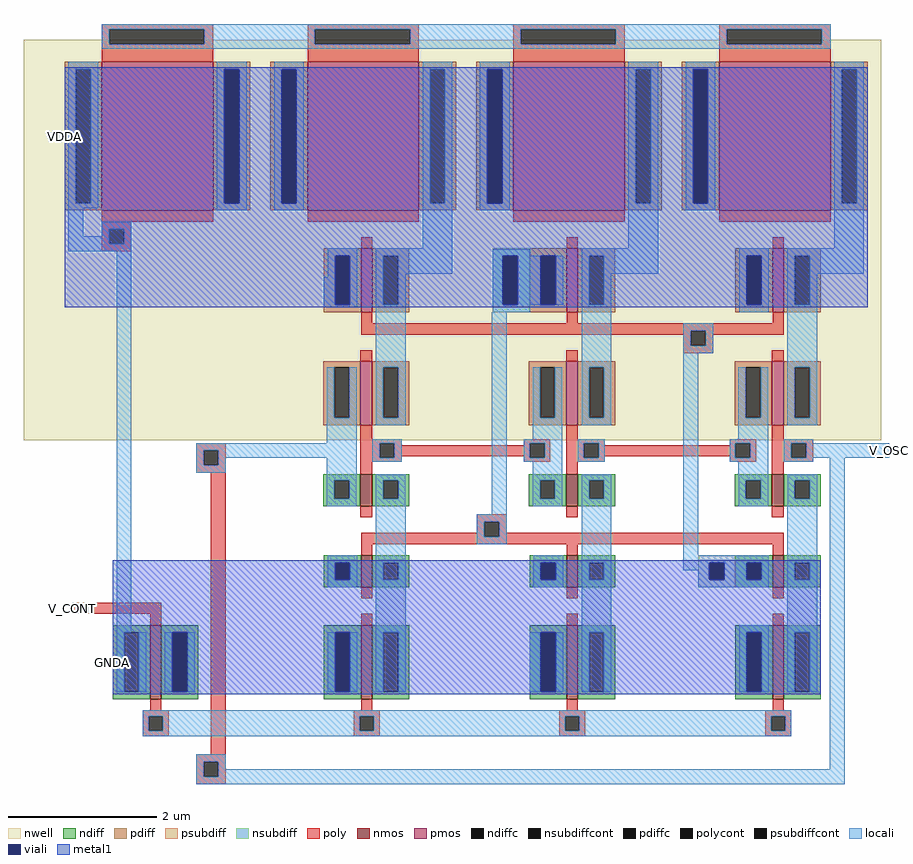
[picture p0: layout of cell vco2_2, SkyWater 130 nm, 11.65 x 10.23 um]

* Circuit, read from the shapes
.subckt vco2_2 VDDA V_OSC V_CONT GNDA
XM1 GNDA V_CONT n1 GNDA sky130_fd_pr__nfet_01v8 w=1 l=0.15
XM2 n2 n3 V_OSC GNDA sky130_fd_pr__nfet_01v8 w=0.43 l=0.16
XM3 n2 V_CONT GNDA GNDA sky130_fd_pr__nfet_01v8 w=1 l=0.15
XM4 n2 VDDA GNDA GNDA sky130_fd_pr__nfet_01v8 w=0.43 l=0.15
XM5 n4 n5 n3 GNDA sky130_fd_pr__nfet_01v8 w=0.43 l=0.16
XM6 n4 V_CONT GNDA GNDA sky130_fd_pr__nfet_01v8 w=1 l=0.15
XM7 n4 VDDA GNDA GNDA sky130_fd_pr__nfet_01v8 w=0.43 l=0.15
XM8 n6 V_OSC n5 GNDA sky130_fd_pr__nfet_01v8 w=0.43 l=0.16
XM9 n6 V_CONT GNDA GNDA sky130_fd_pr__nfet_01v8 w=1 l=0.15
XM10 n6 VDDA GNDA GNDA sky130_fd_pr__nfet_01v8 w=0.43 l=0.15
XM11 VDDA n1 n1 VDDA sky130_fd_pr__pfet_01v8 w=2 l=1.5
XM12 n7 n1 VDDA VDDA sky130_fd_pr__pfet_01v8 w=2 l=1.5
XM13 n7 n3 V_OSC VDDA sky130_fd_pr__pfet_01v8 w=0.86 l=0.16
XM14 n7 GNDA VDDA VDDA sky130_fd_pr__pfet_01v8 w=0.86 l=0.15
XM15 n8 n1 VDDA VDDA sky130_fd_pr__pfet_01v8 w=2 l=1.5
XM16 n8 n5 n3 VDDA sky130_fd_pr__pfet_01v8 w=0.86 l=0.16
XM17 n8 GNDA VDDA VDDA sky130_fd_pr__pfet_01v8 w=0.86 l=0.15
XM18 n9 n1 VDDA VDDA sky130_fd_pr__pfet_01v8 w=2 l=1.5
XM19 n9 V_OSC n5 VDDA sky130_fd_pr__pfet_01v8 w=0.86 l=0.16
XM20 n9 GNDA VDDA VDDA sky130_fd_pr__pfet_01v8 w=0.86 l=0.15
.ends

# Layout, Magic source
magic
tech sky130A
<< nwell >>
rect -428 73 726 612
<< nmos >>
rect -258 -276 -243 -176
rect 25 -16 41 27
rect 302 -16 318 27
rect 579 -16 595 27
rect 26 -125 41 -82
rect 303 -125 318 -82
rect 580 -125 595 -82
rect 26 -276 41 -176
rect 303 -276 318 -176
rect 580 -276 595 -176
<< pmos >>
rect -323 382 -173 582
rect -46 382 104 582
rect 231 382 381 582
rect 508 382 658 582
rect 26 245 41 331
rect 303 245 318 331
rect 580 245 595 331
rect 25 93 41 179
rect 302 93 318 179
rect 579 93 595 179
<< ndiff >>
rect -308 -186 -258 -176
rect -308 -266 -293 -186
rect -273 -266 -258 -186
rect -308 -276 -258 -266
rect -243 -186 -193 -176
rect -243 -266 -228 -186
rect -208 -266 -193 -186
rect -243 -276 -193 -266
rect -25 19 25 27
rect -25 -6 -10 19
rect 10 -6 25 19
rect -25 -16 25 -6
rect 41 19 91 27
rect 41 -6 56 19
rect 76 -6 91 19
rect 41 -16 91 -6
rect 252 19 302 27
rect 252 -6 267 19
rect 287 -6 302 19
rect 252 -16 302 -6
rect 318 19 368 27
rect 318 -6 333 19
rect 353 -6 368 19
rect 318 -16 368 -6
rect 529 19 579 27
rect 529 -6 544 19
rect 564 -6 579 19
rect 529 -16 579 -6
rect 595 19 645 27
rect 595 -6 610 19
rect 630 -6 645 19
rect 595 -16 645 -6
rect -24 -92 26 -82
rect -24 -115 -9 -92
rect 11 -115 26 -92
rect -24 -125 26 -115
rect 41 -92 91 -82
rect 41 -115 56 -92
rect 76 -115 91 -92
rect 41 -125 91 -115
rect 253 -92 303 -82
rect 253 -115 268 -92
rect 288 -115 303 -92
rect 253 -125 303 -115
rect 318 -92 368 -82
rect 318 -115 333 -92
rect 353 -115 368 -92
rect 318 -125 368 -115
rect 530 -92 580 -82
rect 530 -115 545 -92
rect 565 -115 580 -92
rect 530 -125 580 -115
rect 595 -92 645 -82
rect 595 -115 610 -92
rect 630 -115 645 -92
rect 595 -125 645 -115
rect -24 -186 26 -176
rect -24 -266 -9 -186
rect 11 -266 26 -186
rect -24 -276 26 -266
rect 41 -186 91 -176
rect 41 -266 56 -186
rect 76 -266 91 -186
rect 41 -276 91 -266
rect 253 -186 303 -176
rect 253 -266 268 -186
rect 288 -266 303 -186
rect 253 -276 303 -266
rect 318 -186 368 -176
rect 318 -266 333 -186
rect 353 -266 368 -186
rect 318 -276 368 -266
rect 530 -186 580 -176
rect 530 -266 545 -186
rect 565 -266 580 -186
rect 530 -276 580 -266
rect 595 -186 645 -176
rect 595 -266 610 -186
rect 630 -266 645 -186
rect 595 -276 645 -266
<< pdiff >>
rect -373 572 -323 582
rect -373 392 -358 572
rect -338 392 -323 572
rect -373 382 -323 392
rect -173 572 -123 582
rect -173 392 -158 572
rect -138 392 -123 572
rect -173 382 -123 392
rect -96 572 -46 582
rect -96 392 -81 572
rect -61 392 -46 572
rect -96 382 -46 392
rect 104 572 154 582
rect 104 392 119 572
rect 139 392 154 572
rect 104 382 154 392
rect 181 572 231 582
rect 181 392 196 572
rect 216 392 231 572
rect 181 382 231 392
rect 381 572 431 582
rect 381 392 396 572
rect 416 392 431 572
rect 381 382 431 392
rect 458 572 508 582
rect 458 392 473 572
rect 493 392 508 572
rect 458 382 508 392
rect 658 572 708 582
rect 658 392 673 572
rect 693 392 708 572
rect 658 382 708 392
rect -24 321 26 331
rect -24 255 -9 321
rect 11 255 26 321
rect -24 245 26 255
rect 41 321 91 331
rect 41 255 56 321
rect 76 255 91 321
rect 41 245 91 255
rect 253 321 303 331
rect 253 255 268 321
rect 288 255 303 321
rect 253 245 303 255
rect 318 321 368 331
rect 318 255 333 321
rect 353 255 368 321
rect 318 245 368 255
rect 530 321 580 331
rect 530 255 545 321
rect 565 255 580 321
rect 530 245 580 255
rect 595 321 645 331
rect 595 255 610 321
rect 630 255 645 321
rect 595 245 645 255
rect -25 171 25 179
rect -25 103 -10 171
rect 10 103 25 171
rect -25 93 25 103
rect 41 171 91 179
rect 41 103 56 171
rect 76 103 91 171
rect 41 93 91 103
rect 252 171 302 179
rect 252 103 267 171
rect 287 103 302 171
rect 252 93 302 103
rect 318 171 368 179
rect 318 103 333 171
rect 353 103 368 171
rect 318 93 368 103
rect 529 171 579 179
rect 529 103 544 171
rect 564 103 579 171
rect 529 93 579 103
rect 595 171 645 179
rect 595 103 610 171
rect 630 103 645 171
rect 595 93 645 103
<< ndiffc >>
rect -293 -266 -273 -186
rect -228 -266 -208 -186
rect -10 -6 10 19
rect 56 -6 76 19
rect 267 -6 287 19
rect 333 -6 353 19
rect 544 -6 564 19
rect 610 -6 630 19
rect -9 -115 11 -92
rect 56 -115 76 -92
rect 268 -115 288 -92
rect 333 -115 353 -92
rect 545 -115 565 -92
rect 610 -115 630 -92
rect -9 -266 11 -186
rect 56 -266 76 -186
rect 268 -266 288 -186
rect 333 -266 353 -186
rect 545 -266 565 -186
rect 610 -266 630 -186
<< pdiffc >>
rect -358 392 -338 572
rect -158 392 -138 572
rect -81 392 -61 572
rect 119 392 139 572
rect 196 392 216 572
rect 396 392 416 572
rect 473 392 493 572
rect 673 392 693 572
rect -9 255 11 321
rect 56 255 76 321
rect 268 255 288 321
rect 333 255 353 321
rect 545 255 565 321
rect 610 255 630 321
rect -10 103 10 171
rect 56 103 76 171
rect 267 103 287 171
rect 333 103 353 171
rect 544 103 564 171
rect 610 103 630 171
<< psubdiff >>
rect 480 -92 530 -82
rect 480 -115 495 -92
rect 515 -115 530 -92
rect 480 -125 530 -115
<< nsubdiff >>
rect 203 321 253 331
rect 203 255 217 321
rect 237 255 253 321
rect 203 245 253 255
<< psubdiffcont >>
rect 495 -115 515 -92
<< nsubdiffcont >>
rect 217 255 237 321
<< poly >>
rect -323 626 -173 633
rect -323 606 -313 626
rect -185 606 -173 626
rect -323 582 -173 606
rect -46 626 104 633
rect -46 606 -36 626
rect 92 606 104 626
rect -46 582 104 606
rect 231 626 381 633
rect 231 606 241 626
rect 369 606 381 626
rect 231 582 381 606
rect 508 626 658 633
rect 508 606 518 626
rect 646 606 658 626
rect 508 582 658 606
rect -323 367 -173 382
rect -46 367 104 382
rect 231 367 381 382
rect 508 367 658 382
rect -323 357 -283 367
rect -323 337 -313 357
rect -293 337 -283 357
rect -323 327 -283 337
rect 26 331 41 346
rect 303 331 318 346
rect 580 331 595 346
rect 26 230 41 245
rect 303 230 318 245
rect 580 230 595 245
rect 26 220 595 230
rect 26 215 470 220
rect 460 200 470 215
rect 490 215 595 220
rect 490 200 500 215
rect 25 179 41 194
rect 302 179 318 194
rect 460 190 500 200
rect 579 179 595 194
rect 25 74 41 93
rect 302 74 318 93
rect 579 74 595 93
rect 25 69 81 74
rect -196 59 -156 69
rect -196 39 -186 59
rect -166 39 -156 59
rect -196 29 -156 39
rect -363 -161 -243 -146
rect -258 -176 -243 -161
rect -258 -291 -243 -276
rect -268 -299 -233 -291
rect -268 -318 -260 -299
rect -241 -318 -233 -299
rect -268 -326 -233 -318
rect -176 -350 -156 29
rect 25 49 51 69
rect 71 66 81 69
rect 245 69 281 74
rect 245 66 253 69
rect 71 51 253 66
rect 71 49 81 51
rect 25 44 81 49
rect 245 49 253 51
rect 273 49 281 69
rect 245 44 281 49
rect 302 69 354 74
rect 302 49 326 69
rect 346 66 354 69
rect 522 69 558 74
rect 522 66 530 69
rect 346 51 530 66
rect 346 49 354 51
rect 302 44 354 49
rect 522 49 530 51
rect 550 49 558 69
rect 522 44 558 49
rect 579 69 635 74
rect 579 49 605 69
rect 625 49 635 69
rect 579 44 635 49
rect 25 27 41 44
rect 302 27 318 44
rect 579 27 595 44
rect 25 -31 41 -16
rect 182 -37 222 -27
rect 302 -31 318 -16
rect 579 -31 595 -16
rect 182 -52 192 -37
rect 26 -57 192 -52
rect 212 -52 222 -37
rect 212 -57 595 -52
rect 26 -67 595 -57
rect 26 -82 41 -67
rect 303 -82 318 -67
rect 580 -82 595 -67
rect 26 -140 41 -125
rect 303 -140 318 -125
rect 580 -140 595 -125
rect 26 -176 41 -161
rect 303 -176 318 -161
rect 580 -176 595 -161
rect 26 -291 41 -276
rect 303 -291 318 -276
rect 580 -291 595 -276
rect 16 -299 51 -291
rect 16 -318 24 -299
rect 43 -318 51 -299
rect 16 -326 51 -318
rect 293 -299 328 -291
rect 293 -318 301 -299
rect 320 -318 328 -299
rect 293 -326 328 -318
rect 570 -299 605 -291
rect 570 -318 578 -299
rect 597 -318 605 -299
rect 570 -326 605 -318
rect -196 -360 -156 -350
rect -196 -380 -186 -360
rect -166 -380 -156 -360
rect -196 -390 -156 -380
<< polycont >>
rect -313 606 -185 626
rect -36 606 92 626
rect 241 606 369 626
rect 518 606 646 626
rect -313 337 -293 357
rect 470 200 490 220
rect -186 39 -166 59
rect -260 -318 -241 -299
rect 51 49 71 69
rect 253 49 273 69
rect 326 49 346 69
rect 530 49 550 69
rect 605 49 625 69
rect 192 -57 212 -37
rect 24 -318 43 -299
rect 301 -318 320 -299
rect 578 -318 597 -299
rect -186 -380 -166 -360
<< locali >>
rect -323 626 658 633
rect -323 606 -313 626
rect -185 606 -36 626
rect 92 606 241 626
rect 369 606 518 626
rect 646 606 658 626
rect -323 600 658 606
rect -368 572 -328 582
rect -368 392 -358 572
rect -338 392 -328 572
rect -368 385 -328 392
rect -168 572 -128 582
rect -168 392 -158 572
rect -138 392 -128 572
rect -368 347 -348 385
rect -168 382 -128 392
rect -91 572 -51 582
rect -91 392 -81 572
rect -61 392 -51 572
rect -91 382 -51 392
rect 109 572 149 582
rect 109 392 119 572
rect 139 392 149 572
rect -323 357 -283 367
rect -323 347 -313 357
rect -368 337 -313 347
rect -293 337 -283 357
rect -368 327 -283 337
rect 109 331 149 392
rect 186 572 226 582
rect 186 392 196 572
rect 216 392 226 572
rect 186 382 226 392
rect 386 572 426 582
rect 386 392 396 572
rect 416 392 426 572
rect 386 331 426 392
rect 463 572 503 582
rect 463 392 473 572
rect 493 392 503 572
rect 463 382 503 392
rect 663 572 703 582
rect 663 392 673 572
rect 693 392 703 572
rect 663 331 703 392
rect -303 -186 -283 327
rect -19 321 21 331
rect -19 292 -9 321
rect -24 255 -9 292
rect 11 255 21 321
rect -24 252 21 255
rect 46 321 149 331
rect 46 255 56 321
rect 76 297 149 321
rect 203 321 254 330
rect 323 321 426 331
rect 76 255 86 297
rect 46 171 86 255
rect 203 255 217 321
rect 237 255 268 321
rect 288 255 298 321
rect 323 255 333 321
rect 353 297 426 321
rect 535 321 575 331
rect 353 255 363 297
rect 203 245 254 255
rect -20 103 -10 171
rect 10 103 20 171
rect -20 69 20 103
rect 46 103 56 171
rect 76 103 86 171
rect 46 93 86 103
rect -196 59 20 69
rect -196 39 -186 59
rect -166 49 20 59
rect -166 39 -156 49
rect -196 29 -156 39
rect -20 19 20 49
rect 41 69 81 74
rect 41 49 51 69
rect 71 49 81 69
rect 41 44 81 49
rect -20 -6 -10 19
rect 10 -6 20 19
rect -20 -16 20 -6
rect 46 19 86 27
rect 46 -6 56 19
rect 76 -6 86 19
rect -19 -92 21 -82
rect -19 -115 -9 -92
rect 11 -115 21 -92
rect -19 -125 21 -115
rect 46 -92 86 -6
rect 202 -27 222 245
rect 323 171 363 255
rect 535 255 545 321
rect 565 255 575 321
rect 535 245 575 255
rect 600 321 703 331
rect 600 255 610 321
rect 630 297 703 321
rect 630 255 640 297
rect 257 103 267 171
rect 287 103 297 171
rect 257 74 297 103
rect 323 103 333 171
rect 353 103 363 171
rect 323 93 363 103
rect 460 220 500 230
rect 460 200 470 220
rect 490 200 500 220
rect 460 190 500 200
rect 245 69 297 74
rect 245 49 253 69
rect 273 49 297 69
rect 245 44 297 49
rect 318 69 354 74
rect 318 49 326 69
rect 346 49 354 69
rect 318 44 354 49
rect 257 19 297 44
rect 257 -6 267 19
rect 287 -6 297 19
rect 257 -16 297 -6
rect 323 19 363 27
rect 323 -6 333 19
rect 353 -6 363 19
rect 182 -37 222 -27
rect 182 -57 192 -37
rect 212 -57 222 -37
rect 182 -67 222 -57
rect 46 -115 56 -92
rect 76 -115 86 -92
rect 46 -186 86 -115
rect 258 -92 298 -82
rect 258 -115 268 -92
rect 288 -115 298 -92
rect 258 -125 298 -115
rect 323 -92 363 -6
rect 323 -115 333 -92
rect 353 -115 363 -92
rect 460 -82 480 190
rect 600 171 640 255
rect 534 103 544 171
rect 564 103 574 171
rect 534 75 574 103
rect 600 103 610 171
rect 630 103 640 171
rect 600 93 640 103
rect 533 74 574 75
rect 522 69 574 74
rect 522 49 530 69
rect 550 49 574 69
rect 522 44 574 49
rect 595 69 635 74
rect 595 49 605 69
rect 625 49 737 69
rect 595 44 635 49
rect 533 43 574 44
rect 534 19 574 43
rect 534 -6 544 19
rect 564 -6 574 19
rect 534 -16 574 -6
rect 600 19 640 27
rect 600 -6 610 19
rect 630 -6 640 19
rect 460 -92 575 -82
rect 460 -102 495 -92
rect 323 -186 363 -115
rect 480 -115 495 -102
rect 515 -115 545 -92
rect 565 -115 575 -92
rect 480 -125 575 -115
rect 600 -92 640 -6
rect 600 -115 610 -92
rect 630 -115 640 -92
rect -303 -266 -293 -186
rect -273 -266 -263 -186
rect -238 -266 -228 -186
rect -208 -266 -198 -186
rect -19 -266 -9 -186
rect 11 -266 21 -186
rect 46 -266 56 -186
rect 76 -266 86 -186
rect 253 -266 268 -186
rect 288 -266 298 -186
rect 323 -266 333 -186
rect 353 -266 363 -186
rect 535 -186 575 -176
rect 535 -266 545 -186
rect 565 -266 575 -186
rect 600 -186 640 -115
rect 600 -266 610 -186
rect 630 -266 640 -186
rect -268 -299 605 -291
rect -268 -318 -260 -299
rect -241 -318 24 -299
rect 43 -318 301 -299
rect 320 -318 578 -299
rect 597 -318 605 -299
rect -268 -326 605 -318
rect -196 -360 -156 -350
rect -196 -380 -186 -360
rect -166 -370 -156 -360
rect 657 -370 677 49
rect -166 -380 677 -370
rect -196 -390 677 -380
<< viali >>
rect -158 392 -138 572
rect -81 392 -61 572
rect 196 392 216 572
rect 473 392 493 572
rect -9 255 11 321
rect 217 255 237 321
rect 268 255 288 321
rect -9 -115 11 -92
rect 545 255 565 321
rect 268 -115 288 -92
rect 495 -115 515 -92
rect 545 -115 565 -92
rect -228 -266 -208 -186
rect -9 -266 11 -186
rect 268 -266 288 -186
rect 545 -266 565 -186
<< metal1 >>
rect -373 572 708 575
rect -373 392 -158 572
rect -138 392 -81 572
rect -61 392 196 572
rect 216 392 473 572
rect 493 392 708 572
rect -373 321 708 392
rect -373 255 -9 321
rect 11 255 217 321
rect 237 255 268 321
rect 288 255 545 321
rect 565 255 708 321
rect -373 252 708 255
rect -308 -92 645 -89
rect -308 -115 -9 -92
rect 11 -115 268 -92
rect 288 -115 495 -92
rect 515 -115 545 -92
rect 565 -115 645 -92
rect -308 -186 645 -115
rect -308 -266 -228 -186
rect -208 -266 -9 -186
rect 11 -266 268 -186
rect 288 -266 545 -186
rect 565 -266 645 -186
rect -308 -269 645 -266
<< labels >>
flabel metal1 -373 482 -373 482 7 FreeSans 160 0 -80 0 VDDA
port 1 w
flabel poly -363 -154 -363 -154 7 FreeSans 160 0 -80 0 V_CONT
port 3 w
flabel locali 737 59 737 59 3 FreeSans 160 0 80 0 V_OSC
port 2 e
flabel metal1 -308 -226 -308 -226 7 FreeSans 160 0 -80 0 GNDA
port 4 w
<< end >>
